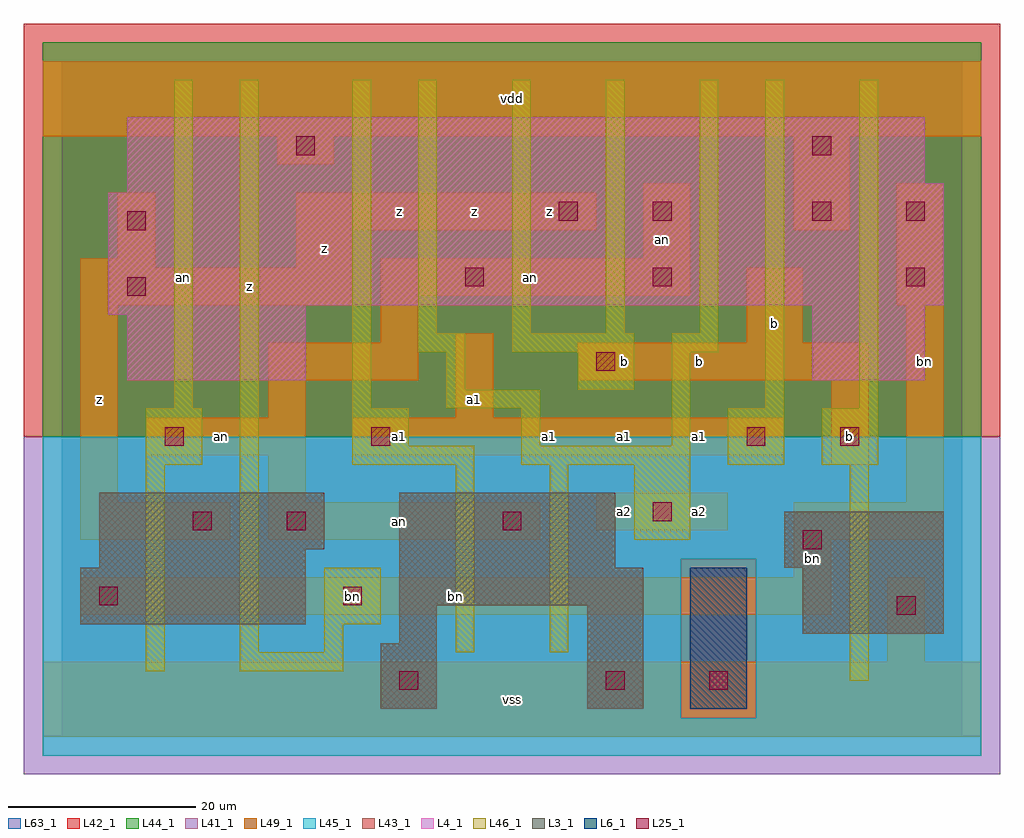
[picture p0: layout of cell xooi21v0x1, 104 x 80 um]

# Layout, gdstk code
import gdstk
lib = gdstk.Library(unit=1e-6, precision=1e-09)
def R(c, l, rs):  # rectangles x0, y0, x1, y1
    for r in rs: c.add(gdstk.rectangle(r[:2], r[2:], *l))
def A(c, l, x, y, w, h, nx, ny, dx, dy):  # array of equal rectangles
    R(c, l, [(x+i*dx, y+j*dy, x+i*dx+w, y+j*dy+h) for i in range(nx) for j in range(ny)])
L3_1 = (3, 1)
L4_1 = (4, 1)
L6_1 = (6, 1)
L25_1 = (25, 1)
L41_1 = (41, 1)
L42_1 = (42, 1)
L43_1 = (43, 1)
L44_1 = (44, 1)
L45_1 = (45, 1)
L46_1 = (46, 1)
L49_1 = (49, 1)
L63_1 = (63, 1)

xooi21v0x1 = lib.new_cell('xooi21v0x1')
R(xooi21v0x1, L3_1, [(34,3,40,10), (56,3,62,14), (36,10,40,14), (79,11,94,18), (2,12,26,18), (36,14,62,18), (4,18,26,20), (36,18,59,26), (77,18,94,24), (4,20,28,26)])
R(xooi21v0x1, L4_1, [(7,38,26,45), (80,38,92,46), (5,45,26,46), (5,46,94,58), (7,58,94,59), (7,59,92,66)])
R(xooi21v0x1, L6_1, [(67,3,73,18), (67,3,73,18)])
R(xooi21v0x1, L25_1, [(36,5,38,7), (58,5,60,7), (69,5,71,7), (89,13,91,15), (4,14,6,16), (30,14,32,16), (79,20,81,22), (14,22,16,24), (24,22,26,24), (47,22,49,24), (63,23,65,25), (11,31,13,33), (33,31,35,33), (73,31,75,33), (83,31,85,33), (57,39,59,41), (7,47,9,49), (43,48,45,50), (63,48,65,50), (90,48,92,50), (7,54,9,56), (53,55,55,57), (63,55,65,57), (80,55,82,57), (90,55,92,57), (25,62,27,64), (80,62,82,64)])
R(xooi21v0x1, L41_1, [(-4,-4,100,32)])
R(xooi21v0x1, L42_1, [(-4,32,100,76)])
R(xooi21v0x1, L43_1, [(34,3,40,10), (56,3,62,14), (67,3,73,18), (36,10,40,14), (79,11,94,18), (2,12,26,18), (36,14,62,18), (4,18,26,20), (36,18,59,26), (77,18,94,24), (4,20,28,26), (7,38,26,45), (80,38,92,46), (5,45,26,46), (5,46,94,58), (7,58,94,59), (7,59,92,66)])
R(xooi21v0x1, L44_1, [(66,2,74,19), (-2,32,98,74)])
R(xooi21v0x1, L45_1, [(-2,-2,98,2), (-2,2,66,19), (74,2,98,19), (-2,19,98,32)])
A(xooi21v0x1, L46_1, 38, 43, 2, 27, 4, 1, 10, 0)
R(xooi21v0x1, L46_1, [(84,6,86,29), (9,7,11,29), (19,7,30,9), (19,9,21,70), (28,9,30,12), (42,9,44,29), (52,9,54,29), (28,12,34,18), (61,21,67,29), (9,29,15,35), (31,29,44,31), (49,29,67,31), (71,29,77,35), (81,29,87,35), (31,31,37,35), (49,31,51,35), (65,31,67,41), (12,35,14,70), (31,35,33,70), (41,35,51,37), (75,35,77,70), (85,35,87,70), (41,37,43,41), (55,37,61,41), (38,41,43,43), (48,41,61,43), (65,41,70,43)])
R(xooi21v0x1, L49_1, [(-2,0,98,8), (88,8,92,17), (2,13,82,17), (78,17,82,21), (2,21,18,25), (22,21,51,25), (78,21,94,25), (57,22,71,26), (2,25,6,46), (22,25,26,30), (90,25,94,46), (82,29,86,38), (9,30,26,34), (31,30,77,34), (22,34,26,38), (42,34,46,43), (22,38,38,42), (55,38,86,42), (34,42,38,47), (73,42,79,50), (2,46,31,50), (89,46,94,59), (34,47,67,51), (2,50,10,51), (25,50,31,54), (6,51,10,58), (62,51,67,59), (25,54,57,58), (78,54,84,64), (23,61,29,64), (-2,64,98,72)])
R(xooi21v0x1, L63_1, [(0,0,96,72)])
xooi21v0x1.add(gdstk.Label('an', (13,49), layer=46, texttype=1))
xooi21v0x1.add(gdstk.Label('bn', (31,15), layer=49, texttype=1))
xooi21v0x1.add(gdstk.Label('z', (4,36), layer=49, texttype=1))
xooi21v0x1.add(gdstk.Label('z', (12,48), layer=49, texttype=1))
xooi21v0x1.add(gdstk.Label('an', (17,32), layer=49, texttype=1))
xooi21v0x1.add(gdstk.Label('z', (20,48), layer=49, texttype=1))
xooi21v0x1.add(gdstk.Label('z', (28,52), layer=49, texttype=1))
xooi21v0x1.add(gdstk.Label('vss', (48,4), layer=49, texttype=1))
xooi21v0x1.add(gdstk.Label('an', (36,23), layer=49, texttype=1))
xooi21v0x1.add(gdstk.Label('a1', (52,32), layer=49, texttype=1))
xooi21v0x1.add(gdstk.Label('a1', (36,32), layer=49, texttype=1))
xooi21v0x1.add(gdstk.Label('a1', (44,36), layer=49, texttype=1))
xooi21v0x1.add(gdstk.Label('z', (44,56), layer=49, texttype=1))
xooi21v0x1.add(gdstk.Label('z', (52,56), layer=49, texttype=1))
xooi21v0x1.add(gdstk.Label('z', (36,56), layer=49, texttype=1))
xooi21v0x1.add(gdstk.Label('vdd', (48,68), layer=49, texttype=1))
xooi21v0x1.add(gdstk.Label('a2', (60,24), layer=49, texttype=1))
xooi21v0x1.add(gdstk.Label('a2', (68,24), layer=49, texttype=1))
xooi21v0x1.add(gdstk.Label('a1', (68,32), layer=49, texttype=1))
xooi21v0x1.add(gdstk.Label('a1', (60,32), layer=49, texttype=1))
xooi21v0x1.add(gdstk.Label('b', (60,40), layer=49, texttype=1))
xooi21v0x1.add(gdstk.Label('b', (68,40), layer=49, texttype=1))
xooi21v0x1.add(gdstk.Label('b', (76,44), layer=49, texttype=1))
xooi21v0x1.add(gdstk.Label('an', (50,49), layer=49, texttype=1))
xooi21v0x1.add(gdstk.Label('an', (64,53), layer=49, texttype=1))
xooi21v0x1.add(gdstk.Label('bn', (80,19), layer=49, texttype=1))
xooi21v0x1.add(gdstk.Label('bn', (42,15), layer=49, texttype=1))
xooi21v0x1.add(gdstk.Label('b', (84,32), layer=49, texttype=1))
xooi21v0x1.add(gdstk.Label('bn', (92,40), layer=49, texttype=1))

lib.write_gds('xooi21v0x1.gds')
